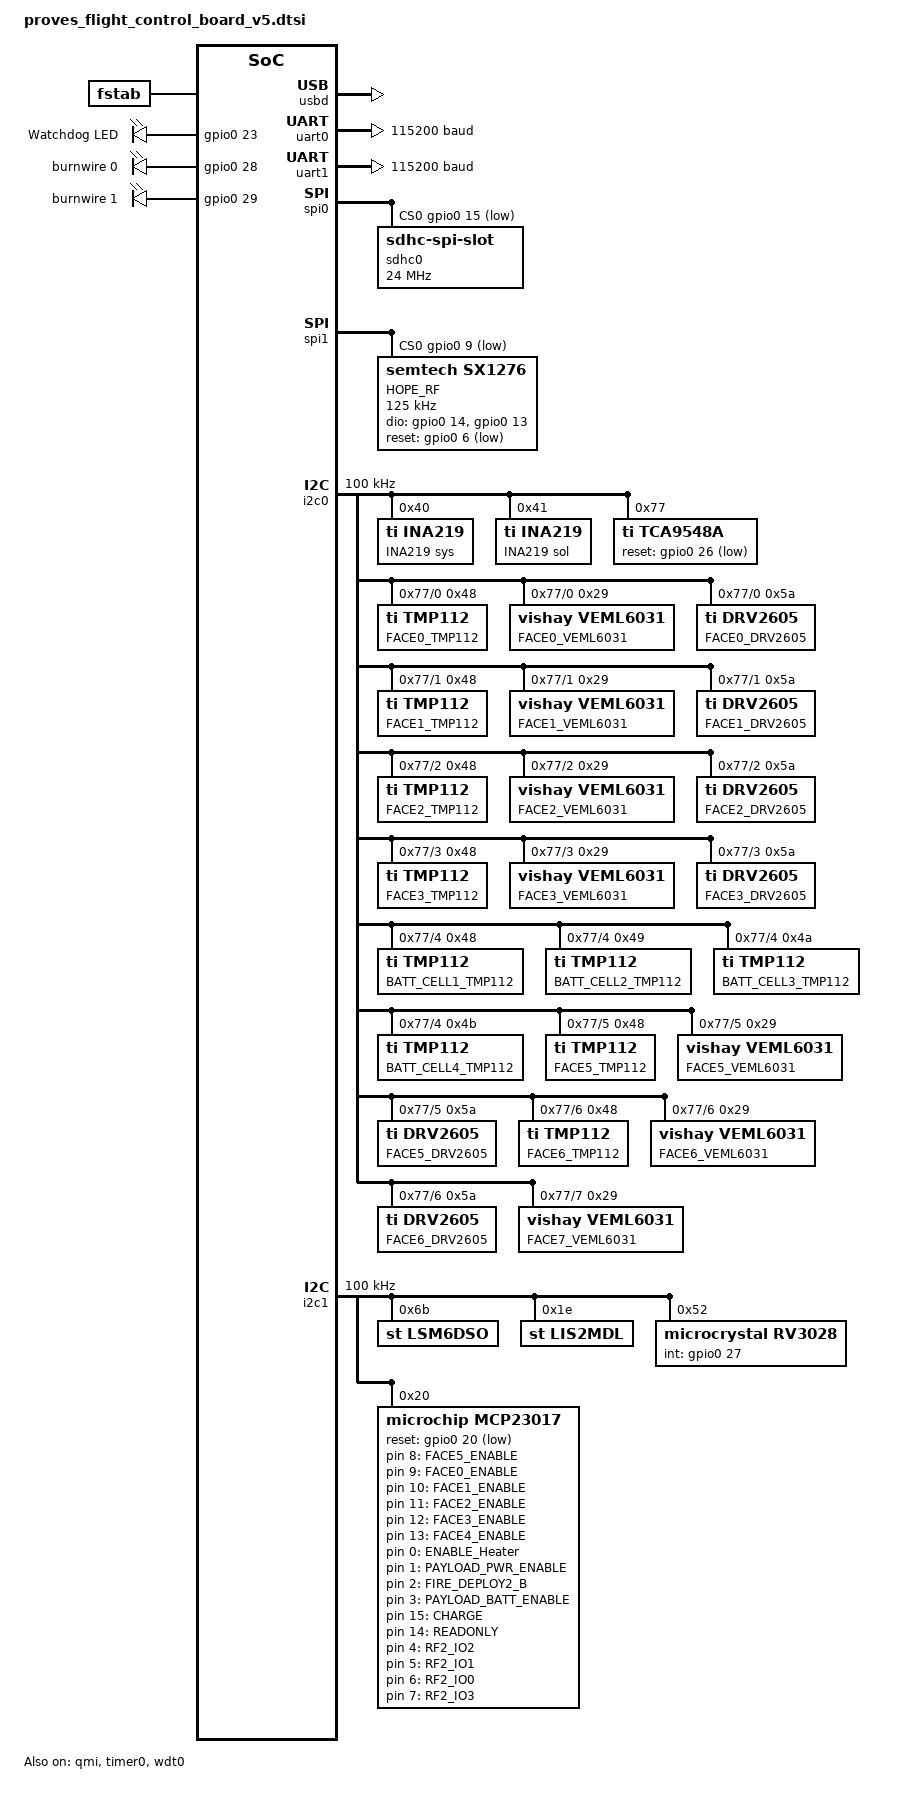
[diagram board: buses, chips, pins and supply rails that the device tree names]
#include <freq.h>

#include <zephyr/dt-bindings/i2c/i2c.h>
#include <zephyr/dt-bindings/pwm/pwm.h>

#include "proves_flight_control_board_v5-pinctrl.dtsi"

/ {
	chosen {
		zephyr,sram = &sram0;
		zephyr,flash = &flash0;
		zephyr,flash-controller = &qmi;
		zephyr,console = &cdc_acm_uart0;
		zephyr,shell-uart = &cdc_acm_uart0;
		zephyr,code-partition = &slot0_partition;
	};

	fstab {
                compatible = "zephyr,fstab";
                ffs1: ffs1 {
                        compatible = "zephyr,fstab,fatfs";
                        automount;
                        disk-access;
                        mount-point = "/";
                };
        };


	aliases {
		watchdog0 = &wdt0;
	};

	leds {
		compatible = "gpio-leds";
		led0: led0 {
			gpios = <&gpio0 23 GPIO_ACTIVE_HIGH>;
			label = "Watchdog LED";
		};
		burnwire0: burnwire0{
			gpios = <&gpio0 28 GPIO_ACTIVE_HIGH>;
			label = "burnwire 0";
		};
		burnwire1: burnwire1{
			gpios = <&gpio0 29 GPIO_ACTIVE_HIGH>;
			label = "burnwire 1";
		};
	};
};

zephyr_udc0: &usbd {
	status = "okay";
};

&zephyr_udc0  {
	cdc_acm_uart0: cdc_acm_uart0 {
		compatible = "zephyr,cdc-acm-uart";
		label = "CDC_ACM_0";
	};
};

&qmi {
	status = "okay";
};

&flash0 {
    reg = <0x10000000 DT_SIZE_M(4)>;
    partitions {
        compatible = "fixed-partitions";
        #address-cells = <0x1>;
        #size-cells = <0x1>;

        boot_partition: partition@0 {
            label = "mcuboot";
            reg = <0x0 0x100000>;
        };

        slot0_partition: partition@100000 {
            label = "current";
            reg = <0x100000 0x100000>;
        };

        slot1_partition: partition@200000 {
            label = "golden";
            reg = <0x200000 0x100000>;
        };

        slot2_partition: partition@300000 {
            label = "test";
            reg = <0x300000 0x100000>;
        };

        storage_partition: partition@400000 {
            label = "storage_partition";
            reg = <0x400000 0xC00000>;
        };
    };
};

&timer0 {
	status = "okay";
};

&wdt0 {
	status = "okay";
};

&gpio0 {
	status = "okay";
};

&uart0 {
    status = "okay";
    pinctrl-0 = <&uart0_default>;
	current-speed = <115200>;
    pinctrl-names = "default";
};

&uart1 {
    status = "okay";
    pinctrl-0 = <&uart1_default>;
	current-speed = <115200>;
    pinctrl-names = "default";
};

&spi0 {
	status = "okay";
	cs-gpios = <&gpio0 15 GPIO_ACTIVE_LOW>, <&gpio0 7 GPIO_ACTIVE_LOW>;
	pinctrl-0 = <&spi0_default>;
	pinctrl-names = "default";
	sdhc0: sdhc@0 {
                compatible = "zephyr,sdhc-spi-slot";
                reg = <0>;
                status = "okay";
                mmc {
                    compatible = "zephyr,sdmmc-disk";
                    disk-name = "SD";
                    status = "okay";
                };
                spi-max-frequency = <24000000>;
        };
};

&spi1 {
	status = "okay";
	cs-gpios = <&gpio0 9 GPIO_ACTIVE_LOW>;
	pinctrl-0 = <&spi1_default>;
	pinctrl-names = "default";

	lora0: sx1276@0 {
		compatible = "semtech,sx1276";
		reg = <0>;
		spi-max-frequency = <125000>;
		dio-gpios =  <&gpio0 14 (GPIO_PULL_DOWN | GPIO_ACTIVE_HIGH)>,<&gpio0 13 (GPIO_PULL_DOWN | GPIO_ACTIVE_HIGH)>;
		reset-gpios = <&gpio0 6 GPIO_ACTIVE_LOW>;
		power-amplifier-output = "pa-boost";
		label = "HOPE_RF";
	};
};

&i2c0 {
	status = "okay";
	pinctrl-0 = <&i2c0_default>;
	pinctrl-names = "default";
	clock-frequency = <100000>;

	ina219_0: ina219_0@40 {
		compatible = "ti,ina219";
		reg = <0x40>;
		brng = <0>;
		pg = <0>;
		badc = <12>;
		sadc = <12>;
		shunt-milliohm = <2>;
		lsb-microamp = <61>;
		label = "INA219 sys";
	};

	ina219_1: ina219_1@41 {
		compatible = "ti,ina219";
		reg = <0x41>;
		brng = <0>;
		pg = <0>;
		badc = <12>;
		sadc = <12>;
		shunt-milliohm = <2>;
		lsb-microamp = <61>;
		label = "INA219 sol";
	};

	tca9548a: tca9548a@77 {
		compatible = "ti,tca9548a";
		status = "okay";
		reg = <0x77>;
		#address-cells = <1>;
		#size-cells = <0>;
		label = "TCA9548A";
		reset-gpios = <&gpio0 26 GPIO_ACTIVE_LOW>;
		i2c-mux-idle-disconnect;

		mux_channel_0: i2c_mux@0 {
			compatible = "ti,tca9548a-channel";
			label = "mux_channel_0";
			reg = <0>;
			#address-cells = <1>;
			#size-cells = <0>;

			face0_temp_sens: tmp112@48 {
				compatible = "ti,tmp112";
				reg = <0x48>;
				status = "okay";
				label = "FACE0_TMP112";
				zephyr,deferred-init;
			};

			face0_light_sens: light@29 {
				compatible = "vishay,veml6031";
				reg = <0x29>;
				status = "okay";
				label = "FACE0_VEML6031";
				zephyr,deferred-init;
			};

			face0_drv2605: drv2605@5a {
				compatible = "ti,drv2605";
				status = "okay";
				reg = <0x5a>;
				label = "FACE0_DRV2605";
				zephyr,deferred-init;

				actuator-mode = "ERM";
				loop-gain = "HIGH";
				feedback-brake-factor = "2X";
			};

		};

		mux_channel_1: i2c_mux@1 {
			compatible = "ti,tca9548a-channel";
			label = "mux_channel_1";
			reg = <1>;
			#address-cells = <1>;
			#size-cells = <0>;

			face1_temp_sens: tmp112@48 {
				compatible = "ti,tmp112";
				reg = <0x48>;
				status = "okay";
				label = "FACE1_TMP112";
				zephyr,deferred-init;
			};

			face1_light_sens: light@29 {
				compatible = "vishay,veml6031";
				reg = <0x29>;
				status = "okay";
				label = "FACE1_VEML6031";
				zephyr,deferred-init;
			};

			face1_drv2605: drv2605@5a {
				compatible = "ti,drv2605";
				status = "okay";
				reg = <0x5a>;
				label = "FACE1_DRV2605";
				zephyr,deferred-init;

				actuator-mode = "ERM";
				loop-gain = "HIGH";
				feedback-brake-factor = "2X";
			};

		};

		mux_channel_2: i2c_mux@2 {
			compatible = "ti,tca9548a-channel";
			label = "mux_channel_2";
			reg = <2>;
			#address-cells = <1>;
			#size-cells = <0>;

			face2_temp_sens: tmp112@48 {
				compatible = "ti,tmp112";
				reg = <0x48>;
				status = "okay";
				label = "FACE2_TMP112";
				zephyr,deferred-init;
			};

			face2_light_sens: light@29 {
				compatible = "vishay,veml6031";
				reg = <0x29>;
				status = "okay";
				label = "FACE2_VEML6031";
				zephyr,deferred-init;
			};

			face2_drv2605: drv2605@5a {
				compatible = "ti,drv2605";
				status = "okay";
				reg = <0x5a>;
				label = "FACE2_DRV2605";
				zephyr,deferred-init;

				actuator-mode = "ERM";
				loop-gain = "HIGH";
				feedback-brake-factor = "2X";
			};

		};

		mux_channel_3: i2c_mux@3 {
			compatible = "ti,tca9548a-channel";
			label = "mux_channel_3";
			reg = <3>;
			#address-cells = <1>;
			#size-cells = <0>;

			face3_temp_sens: tmp112@48 {
				compatible = "ti,tmp112";
				reg = <0x48>;
				status = "okay";
				label = "FACE3_TMP112";
				zephyr,deferred-init;
			};

			face3_light_sens: light@29 {
				compatible = "vishay,veml6031";
				reg = <0x29>;
				status = "okay";
				label = "FACE3_VEML6031";
				zephyr,deferred-init;
			};

			face3_drv2605: drv2605@5a {
				compatible = "ti,drv2605";
				status = "okay";
				reg = <0x5a>;
				label = "FACE3_DRV2605";
				zephyr,deferred-init;

				actuator-mode = "ERM";
				loop-gain = "HIGH";
				feedback-brake-factor = "2X";
			};

		};

		// Battery
		mux_channel_4: i2c_mux@4 {
			compatible = "ti,tca9548a-channel";
			label = "mux_channel_4";
			reg = <4>;
			#address-cells = <1>;
			#size-cells = <0>;
			batt_cell1_temp_sens: tmp112@48 {
				compatible = "ti,tmp112";
				reg = <0x48>;
				status = "okay";
				label = "BATT_CELL1_TMP112";
                zephyr,deferred-init;
			};
			batt_cell2_temp_sens: tmp112@49 {
				compatible = "ti,tmp112";
				reg = <0x49>;
				status = "okay";
				label = "BATT_CELL2_TMP112";
                zephyr,deferred-init;
			};
			batt_cell3_temp_sens: tmp112@4a {
				compatible = "ti,tmp112";
				reg = <0x4a>;
				status = "okay";
				label = "BATT_CELL3_TMP112";
				zephyr,deferred-init;
			};
			batt_cell4_temp_sens: tmp112@4b {
				compatible = "ti,tmp112";
				reg = <0x4b>;
				status = "okay";
				label = "BATT_CELL4_TMP112";
				zephyr,deferred-init;
			};
		};

		// Z- Face x1
		mux_channel_5: i2c_mux@5 {
			compatible = "ti,tca9548a-channel";
			label = "mux_channel_5";
			reg = <5>;
			#address-cells = <1>;
			#size-cells = <0>;

			face5_temp_sens: tmp112@48 {
				compatible = "ti,tmp112";
				reg = <0x48>;
				status = "okay";
				label = "FACE5_TMP112";
				zephyr,deferred-init;
			};

			face5_light_sens: light@29 {
				compatible = "vishay,veml6031";
				reg = <0x29>;
				status = "okay";
				label = "FACE5_VEML6031";
				zephyr,deferred-init;
			};

			face5_drv2605: drv2605@5a {
				compatible = "ti,drv2605";
				status = "okay";
				reg = <0x5a>;
				label = "FACE5_DRV2605";
				zephyr,deferred-init;

				actuator-mode = "ERM";
				loop-gain = "HIGH";
				feedback-brake-factor = "2X";
			};

		};

		// Z- Face x2
		mux_channel_6: i2c_mux@6 {
			compatible = "ti,tca9548a-channel";
			label = "mux_channel_6";
			reg = <6>;
			#address-cells = <1>;
			#size-cells = <0>;

			face6_temp_sens: tmp112@48 {
				compatible = "ti,tmp112";
				reg = <0x48>;
				status = "okay";
				label = "FACE6_TMP112";
				zephyr,deferred-init;
			};

			face6_light_sens: light@29 {
				compatible = "vishay,veml6031";
				reg = <0x29>;
				status = "okay";
				label = "FACE6_VEML6031";
				zephyr,deferred-init;
			};

			face6_drv2605: drv2605@5a {
				compatible = "ti,drv2605";
				status = "okay";
				reg = <0x5a>;
				label = "FACE6_DRV2605";
				zephyr,deferred-init;

				actuator-mode = "ERM";
				loop-gain = "HIGH";
				feedback-brake-factor = "2X";
			};

		};

		// Top cap
		mux_channel_7: i2c_mux@7 {
			compatible = "ti,tca9548a-channel";
			label = "mux_channel_7";
			reg = <7>;
			#address-cells = <1>;
			#size-cells = <0>;
			// TODO add top cap temp sensor (it's not a TMP112)
			face7_light_sens: light@29 {
				compatible = "vishay,veml6031";
				reg = <0x29>;
				status = "okay";
				label = "FACE7_VEML6031";
				zephyr,deferred-init;
			};
		};
	};
};


&i2c1 {
	status = "okay";
	pinctrl-0 = <&i2c1_default>;
	pinctrl-names = "default";
	clock-frequency = <100000>;

	lsm6dso0: lsm6dso0@6b {
		compatible = "st,lsm6dso";
		reg = <0x6b>;
		label = "LSM6DSO";
	};

	lis2mdl0: lis2mdl0@1e {
		compatible = "st,lis2mdl";
		reg = <0x1e>;
		label = "LIS2MDL";
	};

	rtc0: rtc0@52 {
		compatible = "microcrystal,rv3028";
		reg = <0x52>;
		int-gpios = <&gpio0 27 GPIO_ACTIVE_HIGH>;
		backup-switch-mode = "direct";
		label = "RV3028";
	};
	mcp23017: mcp23017@20 {
		compatible = "microchip,mcp23017";
		reg = <0x20>;
		gpio-controller;
		#gpio-cells = <2>;

		/* gpio-line-names must match the numeric indexes used below. The
		 * topology and gpio nodes expect the following mapping (index : name):
		 *  0: ENABLE_HEATER (GPA0)
		 *  1: PAYLOAD_PWR_ENABLE (GPA1)
		 *  2: FIRE_DEPLOY2_B (GPA2)
		 *  3: PAYLOAD_BATT_ENABLE (GPA3)
		 *  4: RF2_IO2 (GPA4)
		 *  5: RF2_IO1 (GPA5)
		 *  6: RF2_IO0 (GPA6)
		 *  7: RF2_IO3 (GPA7)
		 *  8: FACE5_ENABLE (GPB5)
		 *  9: FACE0_ENABLE (GPB1)
		 * 10: FACE1_ENABLE (GPB2)
		 * 11: FACE2_ENABLE (GPB3)
		 * 12: FACE3_ENABLE (GPB4)
		 * 13: FACE4_ENABLE (GPB0)
		 * 14: READONLY (GPB6)
		 * 15: CHARGE (GPB7)
		 */
		gpio-line-names = "ENABLE_HEATER", "PAYLOAD_PWR_ENABLE", "FIRE_DEPLOY2_B", "PAYLOAD_BATT_ENABLE",
						  "RF2_IO2", "RF2_IO1", "RF2_IO0", "RF2_IO3",
						  "FACE5_ENABLE", "FACE0_ENABLE", "FACE1_ENABLE", "FACE2_ENABLE",
						  "FACE3_ENABLE", "FACE4_ENABLE", "READONLY", "CHARGE";

		reset-gpios = <&gpio0 20 GPIO_ACTIVE_LOW>;

		ngpios = <16>;
	};
};

// GPIO Names
/ {

    // Define the GPIO outputs based on your schematic
    gpio_outputs {
        compatible = "gpio-leds";  // Using gpio-leds as a convenient container

        face5_enable: face5-enable {

            gpios = <&mcp23017 8 GPIO_ACTIVE_HIGH>;  // GPB5
            label = "FACE5_ENABLE";
        };

        face0_enable: face0-enable {

            gpios = <&mcp23017 9 GPIO_ACTIVE_HIGH>;  // GPB1
            label = "FACE0_ENABLE";
        };

        face1_enable: face1-enable {

            gpios = <&mcp23017 10 GPIO_ACTIVE_HIGH>;  // GPB2
            label = "FACE1_ENABLE";
        };

        face2_enable: face2-enable {

            gpios = <&mcp23017 11 GPIO_ACTIVE_HIGH>;  // GPB3
            label = "FACE2_ENABLE";
        };

        face3_enable: face3-enable {

            gpios = <&mcp23017 12 GPIO_ACTIVE_HIGH>;  // GPB4
            label = "FACE3_ENABLE";
        };

        face4_enable: face4-enable {

            gpios = <&mcp23017 13 GPIO_ACTIVE_HIGH>;  // GPB0
            label = "FACE4_ENABLE";
        };

        enable_heater: enable-heater {

            gpios = <&mcp23017 0 GPIO_ACTIVE_HIGH>;  // GPA0
            label = "ENABLE_Heater";
        };

        payload_pwr_enable: payload-pwr-enable {

            gpios = <&mcp23017 1 GPIO_ACTIVE_HIGH>;  // GPA1
            label = "PAYLOAD_PWR_ENABLE";
        };

        fire_deploy2_b: fire-deploy2-b {

            gpios = <&mcp23017 2 GPIO_ACTIVE_HIGH>;  // GPA2
            label = "FIRE_DEPLOY2_B";
        };

        payload_batt_enable: payload-batt-enable {

            gpios = <&mcp23017 3 GPIO_ACTIVE_HIGH>;  // GPA3
            label = "PAYLOAD_BATT_ENABLE";
        };

	/*sband_nrst: sband-nrst {
            gpios = <&gpio0 17 (GPIO_PULL_UP | GPIO_ACTIVE_HIGH)>;
            label = "SBAND_NRST";
	};

	sband_rx_en: sband-rx-en {
            gpios = <&gpio0 21 (GPIO_PULL_UP | GPIO_ACTIVE_HIGH)>;
            label = "SBAND_RX_EN";
	};

	sband_tx_en: sband-tx-en {
            gpios = <&gpio0 22 (GPIO_PULL_UP | GPIO_ACTIVE_HIGH)>;
            label = "SBAND_TX_EN";
	};*/
	};

    // Define GPIO inputs
    gpio_inputs {
        compatible = "gpio-keys";

		charge: charge {

            gpios = <&mcp23017 15 GPIO_ACTIVE_HIGH>;  // GPB7
            label = "CHARGE";
        };

        readonly: readonly {

            gpios = <&mcp23017 14 GPIO_ACTIVE_HIGH>;  // GPB6
            label = "READONLY";
        };

        rf2_io2: rf2-io2 {

            gpios = <&mcp23017 4 GPIO_ACTIVE_HIGH>;  // GPA4
            label = "RF2_IO2";
        };

        rf2_io1: rf2-io1 {

            gpios = <&mcp23017 5 GPIO_ACTIVE_HIGH>;  // GPA5
            label = "RF2_IO1";
        };

        rf2_io0: rf2-io0 {

            gpios = <&mcp23017 6 GPIO_ACTIVE_HIGH>;  // GPA6
            label = "RF2_IO0";
        };

        rf2_io3: rf2-io3 {

            gpios = <&mcp23017 7 GPIO_ACTIVE_HIGH>;  // GPA7
            label = "RF2_IO3";
        };
    };
};
